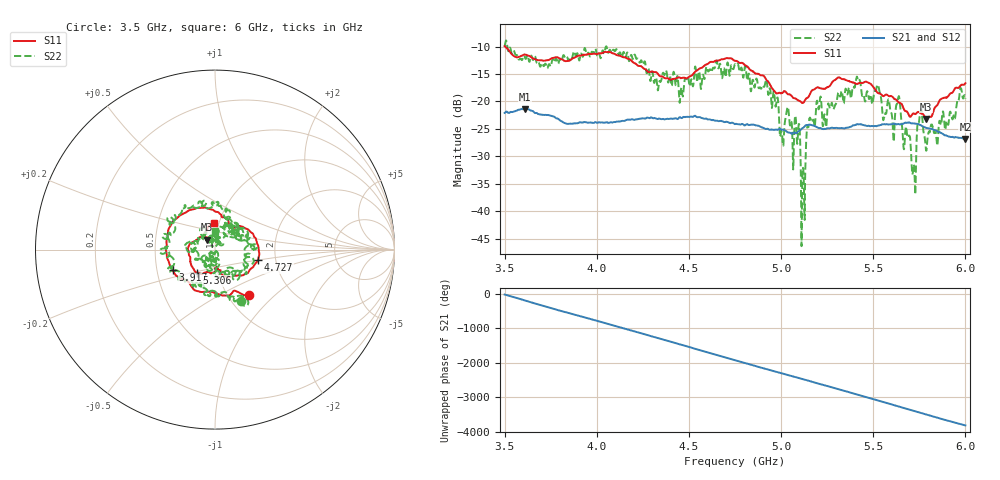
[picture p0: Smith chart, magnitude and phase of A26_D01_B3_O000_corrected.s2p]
! Created with skrf 1.9.0 (http://scikit-rf.org).
# Hz S RI R 50.0
!freq ReS11 ImS11 ReS21 ImS21 ReS12 ImS12 ReS22 ImS22
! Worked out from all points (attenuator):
!   1601 points, 3.5 GHz to 6 GHz, reference 50 ohm
!   highest |S21| = -21.35 dB at 3.609 GHz (marker M1); lowest = -26.8 dB at 6 GHz (marker M2)
!   lowest |S11| = -23.2 dB at 5.787 GHz (marker M3), VSWR 1.15, Z = 45.6 + j4.99 ohm
!   |S11| at or under -10 dB: 3.502 GHz to end of sweep
!   |S22| runs from -46.4 to -8.9 dB; largest |S21 - S12| = 0.0012
!   S11 on the Smith chart (normalised r, x): 3.5 GHz: 1.25, -0.71; 3.917 GHz: 0.60, -0.15; 4.727 GHz: 1.62, -0.21; 5.306 GHz: 0.79, -0.21; 6 GHz: 0.95, +0.28
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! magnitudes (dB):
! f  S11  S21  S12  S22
! 3.5 GHz  -9.9  -22.1  -22.1  -9.9
! 3.609 GHz  -11.4  -21.3  -21.4  -11.9
! 3.917 GHz  -11.6  -23.8  -23.8  -11.3
! 4.334 GHz  -15.1  -23.2  -23.1  -17.5
! 4.727 GHz  -12.1  -23.9  -23.8  -14.0
! 4.75 GHz  -12.6  -24.1  -24.1  -13.2
! 4.928 GHz  -16.3  -25.0  -25.0  -18.4
! 5.003 GHz  -18.5  -25.1  -25.2  -25.5
! 5.033 GHz  -18.6  -25.5  -25.5  -21.3
! 5.088 GHz  -19.7  -25.6  -25.6  -27.7
! 5.119 GHz  -20.3  -24.8  -24.8  -32.1
! 5.147 GHz  -19.2  -24.3  -24.3  -24.7
! 5.167 GHz  -18.0  -24.3  -24.3  -23.8
! 5.306 GHz  -15.7  -24.9  -24.8  -18.9
! 5.417 GHz  -16.7  -24.2  -24.2  -16.0
! 5.584 GHz  -19.0  -24.2  -24.2  -19.6
! 5.608 GHz  -19.3  -24.1  -24.1  -25.9
! 5.638 GHz  -20.2  -24.1  -24.1  -19.1
! 5.719 GHz  -22.2  -24.0  -24.0  -31.8
! 5.752 GHz  -22.0  -24.2  -24.2  -22.8
! 5.787 GHz  -23.2  -24.8  -24.8  -29.0
! 6 GHz  -16.7  -26.8  -26.8  -19.5
